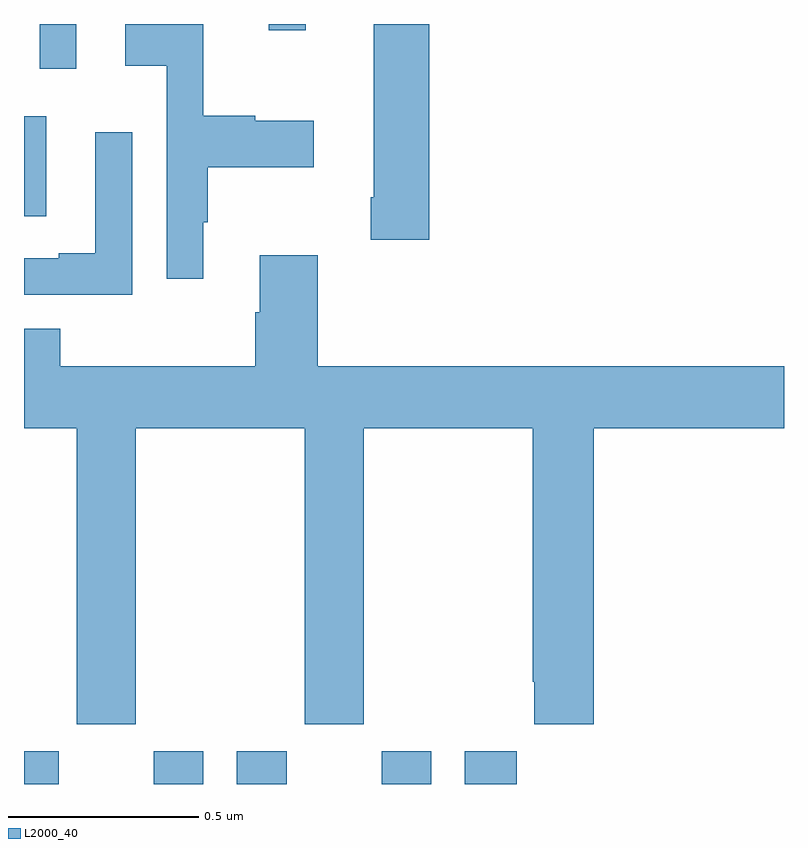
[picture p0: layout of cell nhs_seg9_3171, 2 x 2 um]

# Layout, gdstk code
import gdstk
lib = gdstk.Library(unit=1e-6, precision=1e-09)
def R(c, l, rs):  # rectangles x0, y0, x1, y1
    for r in rs: c.add(gdstk.rectangle(r[:2], r[2:], *l))
def P(c, l, *ps):  # polygons
    for p in ps: c.add(gdstk.Polygon(p, *l))
L2000_40 = (2000, 40)

nhs_seg9_3171 = lib.new_cell('nhs_seg9_3171')
R(nhs_seg9_3171, L2000_40, [(150,1179.5,150.091,1179.586), (150.341,1179.5,150.472,1179.586), (150.56,1179.5,150.691,1179.586), (150.941,1179.5,151.072,1179.586), (151.16,1179.5,151.297,1179.586), (150,1180.994,150.058,1181.257), (150.041,1181.382,150.138,1181.5), (150.644,1181.484,150.742,1181.5)])
P(nhs_seg9_3171, L2000_40, [(150.472,1180.978),(150.484,1180.978),(150.484,1181.123),(150.763,1181.123),(150.763,1181.245),(150.609,1181.245),(150.609,1181.258),(150.472,1181.258),(150.472,1181.5),(150.266,1181.5),(150.266,1181.39),(150.375,1181.39),(150.375,1180.83),(150.472,1180.83)],
  [(151.067,1181.5),(150.92,1181.5),(150.92,1181.044),(150.913,1181.044),(150.913,1180.932),(151.067,1180.932)],
  [(150.285,1181.215),(150.188,1181.215),(150.188,1180.897),(150.092,1180.897),(150.092,1180.884),(150,1180.884),(150,1180.788),(150.285,1180.788)],
  [(150.294,1180.436),(150.739,1180.436),(150.739,1179.657),(150.894,1179.657),(150.894,1180.436),(151.339,1180.436),(151.339,1179.769),(151.343,1179.769),(151.343,1179.657),(151.499,1179.657),(151.499,1180.436),(152,1180.436),(152,1180.6),(150.773,1180.6),(150.773,1180.891),(150.62,1180.891),(150.62,1180.742),(150.608,1180.742),(150.608,1180.6),(150.095,1180.6),(150.095,1180.698),(150,1180.698),(150,1180.436),(150.139,1180.436),(150.139,1179.657),(150.294,1179.657)])

lib.write_gds('nhs_seg9_3171.gds')
